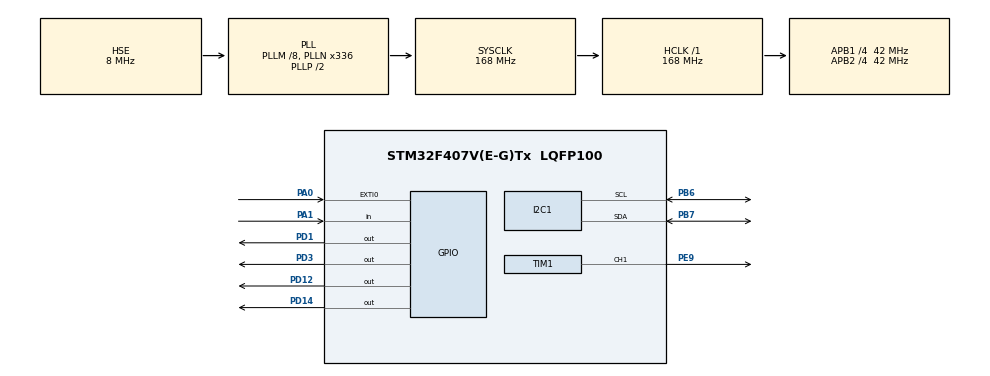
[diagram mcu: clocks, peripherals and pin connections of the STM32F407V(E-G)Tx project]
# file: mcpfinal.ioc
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Mcu.Family=STM32F4
Mcu.Name=STM32F407V(E-G)Tx
Mcu.Package=LQFP100
NVIC.PriorityGroup=NVIC_PRIORITYGROUP_0
PA0-WKUP.Signal=GPXTI0
PA1.Signal=GPIO_Input
PA13.Mode=Serial_Wire
PA13.Signal=SYS_JTMS-SWDIO
PA14.Mode=Serial_Wire
PA14.Signal=SYS_JTCK-SWCLK
PB6.Mode=I2C
PB6.Signal=I2C1_SCL
PB7.Mode=I2C
PB7.Signal=I2C1_SDA
PD1.Signal=GPIO_Output
PD12.Signal=GPIO_Output
PD14.Signal=GPIO_Output
PD3.Signal=GPIO_Output
PE9.Signal=S_TIM1_CH1
PH0-OSC_IN.Mode=HSE-External-Oscillator
PH0-OSC_IN.Signal=RCC_OSC_IN
PH1-OSC_OUT.Mode=HSE-External-Oscillator
PH1-OSC_OUT.Signal=RCC_OSC_OUT
ProjectManager.HeapSize=0x200
ProjectManager.StackSize=0x400
ProjectManager.TargetToolchain=MDK-ARM V5.32
RCC.48MHZClocksFreq_Value=48000000
RCC.AHBFreq_Value=168000000
RCC.APB1CLKDivider=RCC_HCLK_DIV4
RCC.APB1Freq_Value=42000000
RCC.APB1TimFreq_Value=84000000
RCC.APB2CLKDivider=RCC_HCLK_DIV4
RCC.APB2Freq_Value=42000000
RCC.APB2TimFreq_Value=84000000
RCC.CortexFreq_Value=168000000
RCC.HCLKFreq_Value=168000000
RCC.HSE_VALUE=8000000
RCC.HSI_VALUE=16000000
RCC.LSE_VALUE=32768
RCC.PLLM=8
RCC.PLLN=336
RCC.PLLQ=7
RCC.PLLSourceVirtual=RCC_PLLSOURCE_HSE
RCC.SYSCLKFreq_VALUE=168000000
RCC.SYSCLKSource=RCC_SYSCLKSOURCE_PLLCLK
RCC.VCOOutputFreq_Value=336000000
SH.S_TIM1_CH1.0=TIM1_CH1,PWM Generation1 CH1
TIM1.Channel-PWM\ Generation1\ CH1=TIM_CHANNEL_1
TIM1.Period=20000
TIM1.Prescaler=83
VP_TIM1_VS_ClockSourceINT.Mode=Internal
board=STM32F407G-DISC1

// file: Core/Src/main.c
/* USER CODE BEGIN Header */
/**
  ******************************************************************************
  * @file           : main.c
  * @brief          : Main program body
  ******************************************************************************
  * @attention
  *
  * Copyright (c) 2025 STMicroelectronics.
  * All rights reserved.
  *
  * This software is licensed under terms that can be found in the LICENSE file
  * in the root directory of this software component.
  * If no LICENSE file comes with this software, it is provided AS-IS.
  *
  ******************************************************************************
  */
/* USER CODE END Header */
#include "main.h"
#include "i2c_lcd.h"

I2C_HandleTypeDef hi2c1;

TIM_HandleTypeDef htim1;

I2C_LCD_HandleTypeDef lcd1;

void SystemClock_Config(void);
static void MX_GPIO_Init(void);
static void MX_TIM1_Init(void);
static void MX_I2C1_Init(void);
/* USER CODE BEGIN PFP */

void delay_ms(uint32_t ms)
{
    HAL_Delay(ms);
}

void set_servo_angle(uint8_t angle)
{
    // Clamp angle
    if (angle > 180) angle = 180;

    // Map angle (0–180) to pulse width (1000–2000 µs)
    uint16_t pulse_length = 500 + ((angle * 2000) / 180);

    __HAL_TIM_SET_COMPARE(&htim1, TIM_CHANNEL_1, pulse_length);
}

/* USER CODE END PFP */

int main(void)
{

  /* MCU Configuration--------------------------------------------------------*/

  /* Reset of all peripherals, Initializes the Flash interface and the Systick. */
  HAL_Init();

  /* Configure the system clock */
  SystemClock_Config();

  /* Initialize all configured peripherals */
  MX_GPIO_Init();
  MX_TIM1_Init();

	HAL_TIM_PWM_Start(&htim1, TIM_CHANNEL_1);

__HAL_TIM_SET_COMPARE(&htim1, TIM_CHANNEL_1, 500);
HAL_Delay(1000);

// Rotate to 180 degree (2ms pulse)
__HAL_TIM_SET_COMPARE(&htim1, TIM_CHANNEL_1, 2500);
HAL_Delay(1000);

  MX_I2C1_Init();
  /* USER CODE BEGIN 2 */
  lcd1.hi2c = &hi2c1;
	lcd1.address = 0x4E;
	lcd_init(&lcd1);

	lcd_clear(&lcd1);
	lcd_puts(&lcd1, "STM32 I2C LCD");
	lcd_gotoxy(&lcd1, 0, 1);
	lcd_puts(&lcd1, "Library Demo");
	HAL_Delay(1000);
	lcd_clear(&lcd1);
  /* USER CODE END 2 */

  /* Infinite loop */
  /* USER CODE BEGIN WHILE */
  while (1)
  {
		if (HAL_GPIO_ReadPin(GPIOA, GPIO_PIN_1) == GPIO_PIN_SET)  // Motion detected
    {
        // Turn on indicators
        HAL_GPIO_WritePin(GPIOD, GPIO_PIN_12, GPIO_PIN_RESET);  // Green OFF
        HAL_GPIO_WritePin(GPIOD, GPIO_PIN_14, GPIO_PIN_SET);    // Red ON (onboard)
        HAL_GPIO_WritePin(GPIOD, GPIO_PIN_3, GPIO_PIN_SET);     // Red ON (external)
        HAL_GPIO_WritePin(GPIOD, GPIO_PIN_1, GPIO_PIN_SET);     // Buzzer ON

        // Display message
        lcd_clear(&lcd1);
        lcd_puts(&lcd1, "Pest Detected");
  }

	 else
    {
        // No motion - Turn off Red and Buzzer, turn on Green
        HAL_GPIO_WritePin(GPIOD, GPIO_PIN_14, GPIO_PIN_RESET);
        HAL_GPIO_WritePin(GPIOD, GPIO_PIN_3, GPIO_PIN_RESET);
        HAL_GPIO_WritePin(GPIOD, GPIO_PIN_1, GPIO_PIN_RESET);
        HAL_GPIO_WritePin(GPIOD, GPIO_PIN_12, GPIO_PIN_SET);  // Green ON

        // Display message
        lcd_clear(&lcd1);
        lcd_puts(&lcd1, "No Pest Detected");

    }

 for (int angle = 0; angle <= 180; angle += 30) {
    set_servo_angle(angle);
    delay_ms(100);
}
for (int angle = 180; angle >= 0; angle -= 30) {
    set_servo_angle(angle);
    delay_ms(100);
}

  /* USER CODE END 3 */
}
	}

void SystemClock_Config(void)
{
  RCC_OscInitTypeDef RCC_OscInitStruct = {0};
  RCC_ClkInitTypeDef RCC_ClkInitStruct = {0};

  /** Configure the main internal regulator output voltage
  */
  __HAL_RCC_PWR_CLK_ENABLE();
  __HAL_PWR_VOLTAGESCALING_CONFIG(PWR_REGULATOR_VOLTAGE_SCALE1);

  /** Initializes the RCC Oscillators according to the specified parameters
  * in the RCC_OscInitTypeDef structure.
  */
  RCC_OscInitStruct.OscillatorType = RCC_OSCILLATORTYPE_HSE;
  RCC_OscInitStruct.HSEState = RCC_HSE_ON;
  RCC_OscInitStruct.PLL.PLLState = RCC_PLL_ON;
  RCC_OscInitStruct.PLL.PLLSource = RCC_PLLSOURCE_HSE;
  RCC_OscInitStruct.PLL.PLLM = 8;
  RCC_OscInitStruct.PLL.PLLN = 336;
  RCC_OscInitStruct.PLL.PLLP = RCC_PLLP_DIV2;
  RCC_OscInitStruct.PLL.PLLQ = 7;
  if (HAL_RCC_OscConfig(&RCC_OscInitStruct) != HAL_OK)
  {
    Error_Handler();
  }

  /** Initializes the CPU, AHB and APB buses clocks
  */
  RCC_ClkInitStruct.ClockType = RCC_CLOCKTYPE_HCLK|RCC_CLOCKTYPE_SYSCLK
                              |RCC_CLOCKTYPE_PCLK1|RCC_CLOCKTYPE_PCLK2;
  RCC_ClkInitStruct.SYSCLKSource = RCC_SYSCLKSOURCE_PLLCLK;
  RCC_ClkInitStruct.AHBCLKDivider = RCC_SYSCLK_DIV1;
  RCC_ClkInitStruct.APB1CLKDivider = RCC_HCLK_DIV4;
  RCC_ClkInitStruct.APB2CLKDivider = RCC_HCLK_DIV4;

  if (HAL_RCC_ClockConfig(&RCC_ClkInitStruct, FLASH_LATENCY_5) != HAL_OK)
  {
    Error_Handler();
  }
}

static void MX_I2C1_Init(void)
{

  hi2c1.Instance = I2C1;
  hi2c1.Init.ClockSpeed = 100000;
  hi2c1.Init.DutyCycle = I2C_DUTYCYCLE_2;
  hi2c1.Init.OwnAddress1 = 0;
  hi2c1.Init.AddressingMode = I2C_ADDRESSINGMODE_7BIT;
  hi2c1.Init.DualAddressMode = I2C_DUALADDRESS_DISABLE;
  hi2c1.Init.OwnAddress2 = 0;
  hi2c1.Init.GeneralCallMode = I2C_GENERALCALL_DISABLE;
  hi2c1.Init.NoStretchMode = I2C_NOSTRETCH_DISABLE;
  if (HAL_I2C_Init(&hi2c1) != HAL_OK)
  {
    Error_Handler();
  }

}

static void MX_TIM1_Init(void)
{

  TIM_ClockConfigTypeDef sClockSourceConfig = {0};
  TIM_MasterConfigTypeDef sMasterConfig = {0};
  TIM_OC_InitTypeDef sConfigOC = {0};
  TIM_BreakDeadTimeConfigTypeDef sBreakDeadTimeConfig = {0};

  htim1.Instance = TIM1;
  htim1.Init.Prescaler = 83;
  htim1.Init.CounterMode = TIM_COUNTERMODE_UP;
  htim1.Init.Period = 20000;
  htim1.Init.ClockDivision = TIM_CLOCKDIVISION_DIV1;
  htim1.Init.RepetitionCounter = 0;
  htim1.Init.AutoReloadPreload = TIM_AUTORELOAD_PRELOAD_DISABLE;
  if (HAL_TIM_Base_Init(&htim1) != HAL_OK)
  {
    Error_Handler();
  }
  sClockSourceConfig.ClockSource = TIM_CLOCKSOURCE_INTERNAL;
  if (HAL_TIM_ConfigClockSource(&htim1, &sClockSourceConfig) != HAL_OK)
  {
    Error_Handler();
  }
  if (HAL_TIM_PWM_Init(&htim1) != HAL_OK)
  {
    Error_Handler();
  }
  sMasterConfig.MasterOutputTrigger = TIM_TRGO_RESET;
  sMasterConfig.MasterSlaveMode = TIM_MASTERSLAVEMODE_DISABLE;
  if (HAL_TIMEx_MasterConfigSynchronization(&htim1, &sMasterConfig) != HAL_OK)
  {
    Error_Handler();
  }
  sConfigOC.OCMode = TIM_OCMODE_PWM1;
  sConfigOC.Pulse = 0;
  sConfigOC.OCPolarity = TIM_OCPOLARITY_HIGH;
  sConfigOC.OCNPolarity = TIM_OCNPOLARITY_HIGH;
  sConfigOC.OCFastMode = TIM_OCFAST_DISABLE;
  sConfigOC.OCIdleState = TIM_OCIDLESTATE_RESET;
  sConfigOC.OCNIdleState = TIM_OCNIDLESTATE_RESET;
  if (HAL_TIM_PWM_ConfigChannel(&htim1, &sConfigOC, TIM_CHANNEL_1) != HAL_OK)
  {
    Error_Handler();
  }
  sBreakDeadTimeConfig.OffStateRunMode = TIM_OSSR_DISABLE;
  sBreakDeadTimeConfig.OffStateIDLEMode = TIM_OSSI_DISABLE;
  sBreakDeadTimeConfig.LockLevel = TIM_LOCKLEVEL_OFF;
  sBreakDeadTimeConfig.DeadTime = 0;
  sBreakDeadTimeConfig.BreakState = TIM_BREAK_DISABLE;
  sBreakDeadTimeConfig.BreakPolarity = TIM_BREAKPOLARITY_HIGH;
  sBreakDeadTimeConfig.AutomaticOutput = TIM_AUTOMATICOUTPUT_DISABLE;
  if (HAL_TIMEx_ConfigBreakDeadTime(&htim1, &sBreakDeadTimeConfig) != HAL_OK)
  {
    Error_Handler();
  }
  HAL_TIM_MspPostInit(&htim1);

}

static void MX_GPIO_Init(void)
{
  GPIO_InitTypeDef GPIO_InitStruct = {0};

  /* GPIO Ports Clock Enable */
  __HAL_RCC_GPIOH_CLK_ENABLE();
  __HAL_RCC_GPIOA_CLK_ENABLE();
  __HAL_RCC_GPIOE_CLK_ENABLE();
  __HAL_RCC_GPIOD_CLK_ENABLE();
  __HAL_RCC_GPIOB_CLK_ENABLE();

  /*Configure GPIO pin Output Level */
  HAL_GPIO_WritePin(GPIOD, GPIO_PIN_12|GPIO_PIN_14|GPIO_PIN_1|GPIO_PIN_3, GPIO_PIN_RESET);

  /*Configure GPIO pin : PA0 */
  GPIO_InitStruct.Pin = GPIO_PIN_0;
  GPIO_InitStruct.Mode = GPIO_MODE_IT_RISING;
  GPIO_InitStruct.Pull = GPIO_NOPULL;
  HAL_GPIO_Init(GPIOA, &GPIO_InitStruct);

  /*Configure GPIO pin : PA1 */
  GPIO_InitStruct.Pin = GPIO_PIN_1;
  GPIO_InitStruct.Mode = GPIO_MODE_INPUT;
  GPIO_InitStruct.Pull = GPIO_NOPULL;
  HAL_GPIO_Init(GPIOA, &GPIO_InitStruct);

  /*Configure GPIO pins : PD12 PD14 PD1 PD3 */
  GPIO_InitStruct.Pin = GPIO_PIN_12|GPIO_PIN_14|GPIO_PIN_1|GPIO_PIN_3;
  GPIO_InitStruct.Mode = GPIO_MODE_OUTPUT_PP;
  GPIO_InitStruct.Pull = GPIO_NOPULL;
  GPIO_InitStruct.Speed = GPIO_SPEED_FREQ_LOW;
  HAL_GPIO_Init(GPIOD, &GPIO_InitStruct);

}

void Error_Handler(void)
{
  __disable_irq();
  while (1)
  {
  }
}
